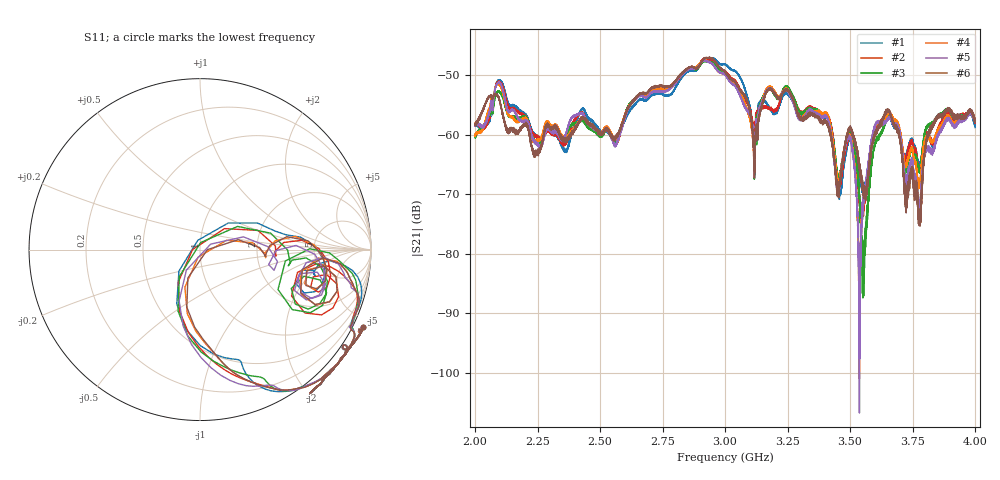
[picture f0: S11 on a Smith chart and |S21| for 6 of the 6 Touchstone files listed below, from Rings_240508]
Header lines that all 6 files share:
!Agilent Technologies,N5230C,SG49000117,A.08.50.07
!Agilent N5230C: A.08.50.07
!Correction: S11(Full 2 Port(1,2))
!S21(Full 2 Port(1,2))
!S12(Full 2 Port(1,2))
!S22(Full 2 Port(1,2))
!S2P File: Measurements: S11, S21, S12, S22:
# Hz S  MA  R 50
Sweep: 2 GHz to 4 GHz
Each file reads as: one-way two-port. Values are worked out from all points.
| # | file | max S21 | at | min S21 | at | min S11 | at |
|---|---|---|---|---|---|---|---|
| 1 | Ring_6_4K.s2p | -47.10 dB | 2.95 GHz | -70.9 dB | 3.457 GHz | -26.6 dB | 3.118 GHz |
| 2 | Ring_12_4K.s2p | -47.19 dB | 2.919 GHz | -74.4 dB | 3.547 GHz | -29.5 dB | 3.117 GHz |
| 3 | Ring_18_4K.s2p | -47.63 dB | 2.922 GHz | -87.4 dB | 3.552 GHz | -30.9 dB | 3.118 GHz |
| 4 | Ring_24_4K.s2p | -47.41 dB | 2.916 GHz | -101.0 dB | 3.538 GHz | -32.6 dB | 3.117 GHz |
| 5 | Ring_30_4K.s2p | -47.49 dB | 2.918 GHz | -106.7 dB | 3.538 GHz | -39.5 dB | 3.118 GHz |
| 6 | Ring_30_24_crosstalk_4K.s2p | -47.02 dB | 2.938 GHz | -75.3 dB | 3.781 GHz | -30.5 dB | 3.117 GHz |
